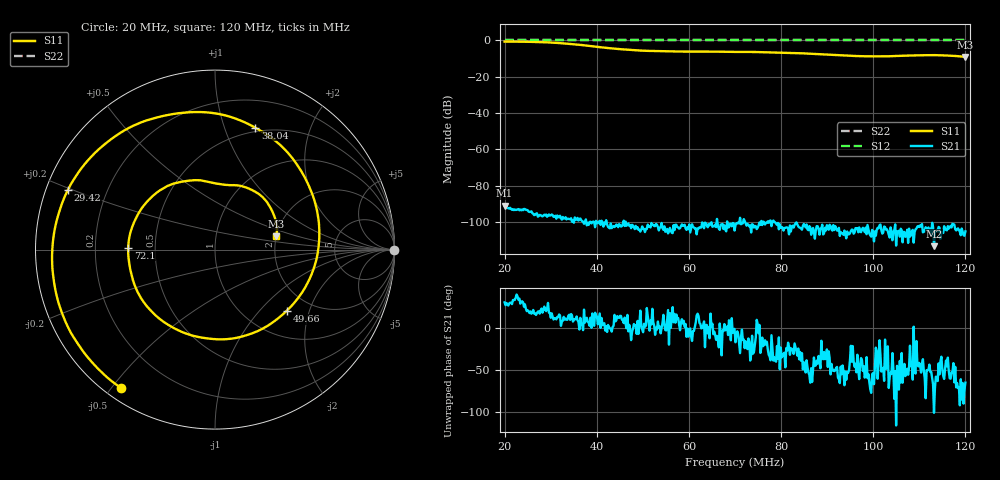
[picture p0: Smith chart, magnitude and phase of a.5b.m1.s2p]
! Anritsu VNA Master:  Model: MS2036C/10/77
! SN:  1601066
! /bd0/18may8/255.ns.m1.s2p
! Existing Calibration Information:
! TYPE:  Current Settings,  Active Cal Settings
! TIME:  05/08/2018 11:00:55 AM,  05/08/2018 10:55:57 AM
! INTERNAL TEMP:  50.3 C,  49.3 C
! # POINTS:  500,  500
! START FREQ:  20.000 MHz,  20.000 MHz
! STOP FREQ:  120.000 MHz,  120.000 MHz
! SOURCE POWER:  High,  High
! IFBW:  50 Hz,  50 Hz
! AVG FACTOR:  1 ,  1
! REF PLANE 1:  0 mm,  0 mm
! REF PLANE 2:  0 mm,  0 mm
! CAL TYPE:  Full S11,  Full S11
! CAL METHOD:  SOLT,  SOLT
! CAL LINE TYPE:  Coax,  Coax
! DUT PORT 1:  K-Conn(F),  K-Conn(F)
! DUT PORT 2:  K-Conn(F),  K-Conn(F)
! CAL STATUS:  OK: Accuracy High,  --
# GHZ S DB R 50.0
! FREQ.GHZ  S11DB  S11A  S21DB  S21A  S12DB  S12A  S22DB  S22A
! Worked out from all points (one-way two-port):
!   500 points, 20 MHz to 120 MHz, reference 50 ohm
!   highest |S21| = -91.00 dB at 20 MHz (marker M1); lowest = -113.2 dB at 113.2 MHz (marker M2)
!   lowest |S11| = -9.1 dB at 120 MHz (marker M3), VSWR 2.07, Z = 99.9 + j16.9 ohm
!   |S11| at or under -10 dB: nowhere
!   |S22| runs from 0.0 to 0.0 dB; largest |S21 - S12| = 1
!   S11 on the Smith chart (normalised r, x): 20 MHz: 0.05, -0.53; 29.42 MHz: 0.06, +0.19; 38.04 MHz: 0.46, +1.28; 49.66 MHz: 1.52, -1.43; 72.1 MHz: 0.35, +0.01; 120 MHz: 2.00, +0.34
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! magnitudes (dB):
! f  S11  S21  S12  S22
! 20 MHz  -0.6  -91.0  0.0  0.0
! 24.61 MHz  -0.7  -93.2  0.0  0.0
! 29.42 MHz  -1.1  -96.5  0.0  0.0
! 32.83 MHz  -1.6  -98.0  0.0  0.0
! 36.83 MHz  -2.5  -99.4  0.0  0.0
! 38.04 MHz  -2.9  -100.4  0.0  0.0
! 44.25 MHz  -4.6  -101.3  0.0  0.0
! 49.66 MHz  -5.6  -104.1  0.0  0.0
! 53.47 MHz  -5.9  -104.5  0.0  0.0
! 57.27 MHz  -6.1  -101.5  0.0  0.0
! 65.29 MHz  -6.1  -102.3  0.0  0.0
! 70.1 MHz  -6.3  -101.7  0.0  0.0
! 72.1 MHz  -6.3  -99.4  0.0  0.0
! 80.32 MHz  -6.7  -102.9  0.0  0.0
! 86.73 MHz  -7.4  -104.7  0.0  0.0
! 96.55 MHz  -8.6  -103.3  0.0  0.0
! 101 MHz  -8.8  -103.1  0.0  0.0
! 103.4 MHz  -8.7  -106.9  0.0  0.0
! 108.2 MHz  -8.3  -107.2  0.0  0.0
! 113.2 MHz  -8.1  -113.2  0.0  0.0
! 117.4 MHz  -8.5  -101.3  0.0  0.0
! 120 MHz  -9.1  -105.1  0.0  0.0
